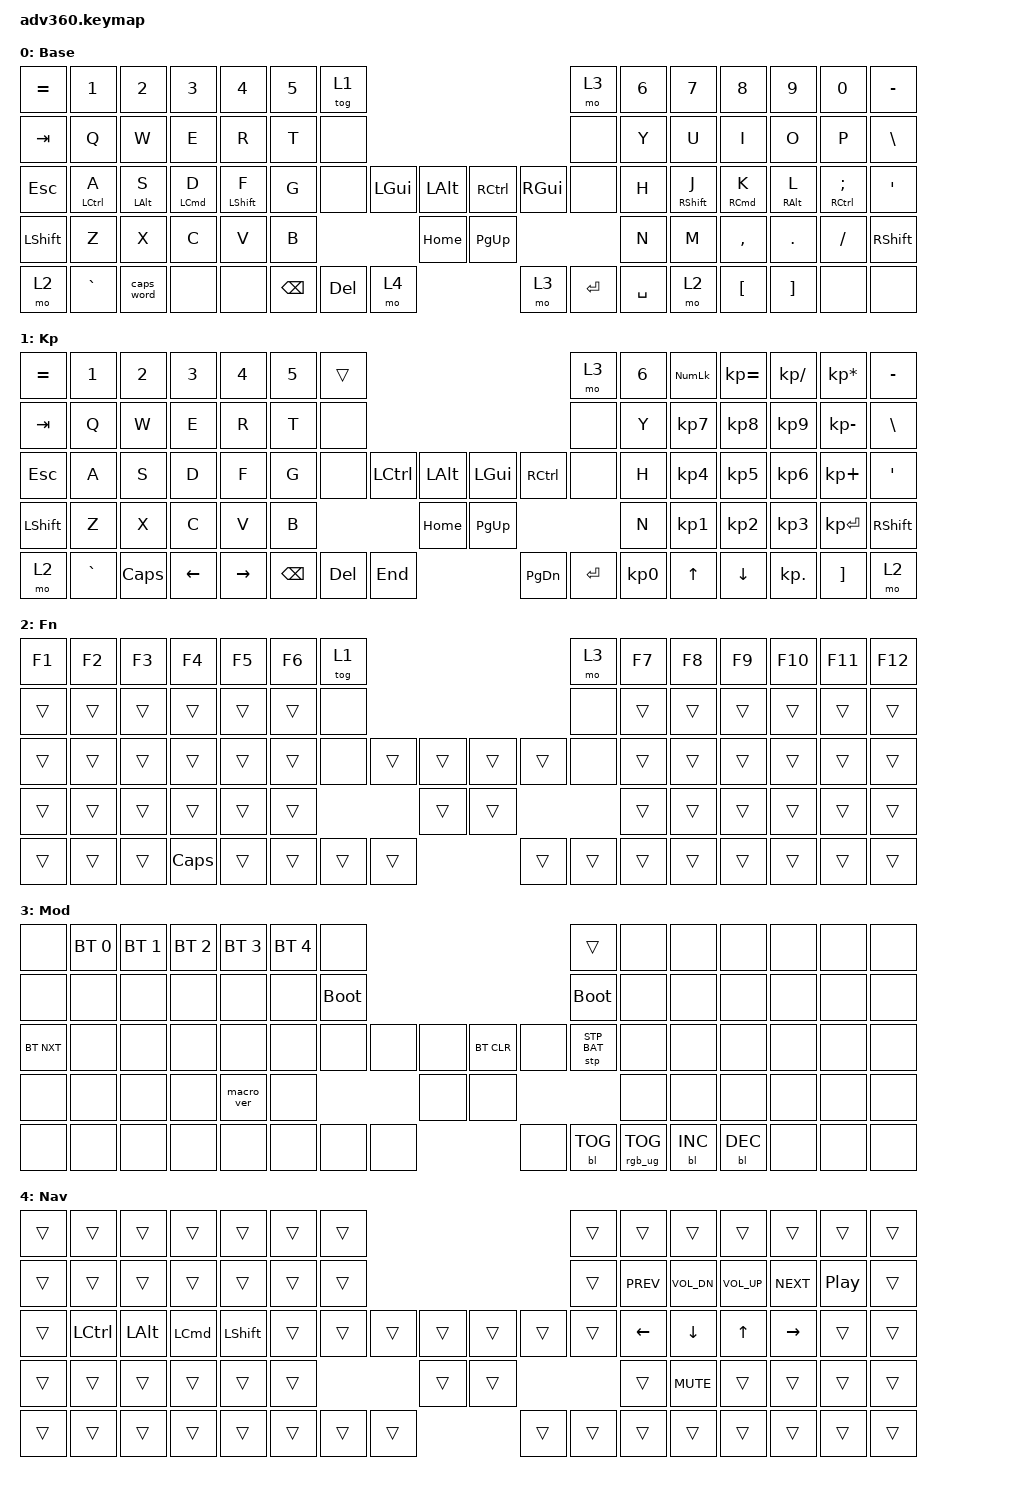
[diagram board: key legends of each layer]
#include <behaviors.dtsi>
#include <dt-bindings/zmk/keys.h>
#include <dt-bindings/zmk/bt.h>
#include <dt-bindings/zmk/rgb.h>
#include <dt-bindings/zmk/stp.h>
#include <dt-bindings/zmk/backlight.h>
#include <dt-bindings/zmk/pointing.h>

/ {
    behaviors {
        #include "macros.dtsi"
        #include "version.dtsi"

        hml: left-hand-homerowmods {
            compatible = "zmk,behavior-hold-tap";
            label = "HOMEROW_MODS_LEFT";
            #binding-cells = <2>;
            tapping-term-ms = <250>;
            flavor = "balanced";
            bindings = <&kp>, <&kp>;

            hold-trigger-on-release;
            quick-tap-ms = <175>;
            require-prior-idle-ms = <200>;
            hold-trigger-key-positions = <7 8 9 10 11 12 13 21 22 23 24 25 26 27 38 39 40 41 42 43 44 45 54 55 56 57 58 59 69 70 71 72 73 74 75 35 36 37 38 52 53 65 66 67 68 69 70>;
        };

        hmr: right-hand-homerowmods {
            compatible = "zmk,behavior-hold-tap";
            label = "HOMEROW_MODS_RIGHT";
            #binding-cells = <2>;
            tapping-term-ms = <250>;
            flavor = "balanced";
            bindings = <&kp>, <&kp>;

            hold-trigger-on-release;
            quick-tap-ms = <175>;
            require-prior-idle-ms = <200>;
            hold-trigger-key-positions = <0 1 2 3 4 5 6 14 15 16 17 18 19 20 28 29 30 31 32 33 34 35 36 46 47 48 49 50 51 52 60 61 62 63 64 65 66 67 37 38 53 68 69 70>;
        };
    };

    macros {
    };

    keymap {
        compatible = "zmk,keymap";

        default_layer {
            display-name = "Base";
            bindings = <
&kp EQUAL  &kp N1               &kp N2           &kp N3               &kp N4             &kp N5  &tog 1                                                                                &mo 3              &kp N6  &kp N7              &kp N8                &kp N9            &kp N0                        &kp MINUS
&kp TAB    &kp Q                &kp W            &kp E                &kp R              &kp T   &none                                                                                 &none              &kp Y   &kp U               &kp I                 &kp O             &kp P                         &kp BSLH
&kp ESC    &hml LEFT_CONTROL A  &hml LEFT_ALT S  &hml LEFT_COMMAND D  &hml LEFT_SHIFT F  &kp G   &none             &kp LEFT_GUI  &kp LALT      &kp RIGHT_CONTROL        &kp RIGHT_GUI  &none              &kp H   &hmr RIGHT_SHIFT J  &hmr RIGHT_COMMAND K  &hmr RIGHT_ALT L  &hmr RIGHT_CONTROL SEMICOLON  &kp SQT
&kp LSHFT  &kp Z                &kp X            &kp C                &kp V              &kp B                                   &kp HOME      &kp PG_UP                                                  &kp N   &kp M               &kp COMMA             &kp DOT           &kp FSLH                      &kp RSHFT
&mo 2      &kp GRAVE           &caps_word       &none                 &none                      &kp BSPC          &kp DELETE    &mo 4         &mo 3                    &kp ENTER      &kp SPACE                  &mo 2               &kp LBKT               &kp RBKT          &none                         &none
            >;
        };

        keypad {
            display-name = "Kp";
            bindings = <
        &kp EQUAL &kp N1    &kp N2   &kp N3   &kp N4     &kp N5 &trans                                                           &mo 3 &kp N6 &kp KP_NUM &kp KP_EQUAL &kp KP_DIVIDE &kp KP_MULTIPLY &kp MINUS
        &kp TAB   &kp Q     &kp W    &kp E    &kp R      &kp T  &none                                                            &none &kp Y  &kp KP_N7  &kp KP_N8    &kp KP_N9     &kp KP_MINUS    &kp BSLH
        &kp ESC   &kp A     &kp S    &kp D    &kp F      &kp G  &none           &kp LCTRL &kp LALT &kp LGUI  &kp RCTRL           &none &kp H  &kp KP_N4  &kp KP_N5    &kp KP_N6     &kp KP_PLUS     &kp SQT
        &kp LSHFT &kp Z     &kp X    &kp C    &kp V      &kp B                            &kp HOME &kp PG_UP                           &kp N  &kp KP_N1  &kp KP_N2    &kp KP_N3     &kp KP_ENTER    &kp RSHFT
        &mo 2     &kp GRAVE &kp CAPS &kp LEFT &kp RIGHT                &kp BSPC &kp DEL   &kp END  &kp PG_DN &kp ENTER &kp KP_N0              &kp UP     &kp DOWN     &kp KP_DOT    &kp RBKT        &mo 2
            >;
        };

        fn {
            display-name = "Fn";
            bindings = <
        &kp F1 &kp F2 &kp F3 &kp F4 &kp F5 &kp F6 &tog 1                                           &mo 3 &kp F7 &kp F8 &kp F9 &kp F10 &kp F11 &kp F12
        &trans &trans &trans &trans &trans &trans  &none                                           &none &trans &trans &trans &trans  &trans  &trans
        &trans &trans &trans &trans &trans &trans  &none        &trans &trans &trans &trans        &none &trans &trans &trans &trans  &trans  &trans
        &trans &trans &trans &trans &trans &trans                      &trans &trans                     &trans &trans &trans &trans  &trans  &trans
        &trans &trans &trans &kp CAPS &trans             &trans &trans &trans &trans &trans &trans              &trans &trans &trans  &trans  &trans
            >;
        };

        mod {
            display-name = "Mod";
            bindings = <
        &none          &bt BT_SEL 0 &bt BT_SEL 1 &bt BT_SEL 2 &bt BT_SEL 3 &bt BT_SEL 4 &none                                                                     &trans       &none        &none        &none        &none &none &none
        &none          &none        &none        &none        &none        &none        &bootloader                                                               &bootloader  &none        &none        &none        &none &none &none
        &bt BT_NXT     &none        &none        &none        &none        &none        &none                   &none &none &bt BT_CLR &none                      &stp STP_BAT &none        &none        &none        &none &none &none
        &none          &none        &none        &none        &macro_ver   &none                                      &none &none                                              &none        &none        &none        &none &none &none
        &none          &none        &none        &none        &none                                       &none &none &none &none      &bl BL_TOG &rgb_ug RGB_TOG                           &bl BL_INC   &bl BL_DEC   &none &none &none
            >;
        };

        nav {
            display-name = "Nav";
            bindings = <
        &trans &trans     &trans    &trans    &trans     &trans &trans                                           &trans &trans &trans    &trans    &trans  &trans    &trans
        &trans &trans     &trans    &trans    &trans     &trans &trans                                           &trans &kp C_PREV &kp C_VOL_DN &kp C_VOL_UP &kp C_NEXT &kp C_PP &trans
        &trans &kp LCTRL  &kp LALT  &kp LCMD  &kp LSHFT  &trans &trans        &trans &trans &trans &trans        &trans &kp LEFT &kp DOWN &kp UP &kp RIGHT &trans  &trans
        &trans &trans     &trans    &trans    &trans     &trans                      &trans &trans                      &trans &kp C_MUTE &trans    &trans  &trans    &trans
        &trans &trans     &trans    &trans    &trans                   &trans &trans &trans &trans &trans &trans               &trans    &trans    &trans  &trans    &trans
            >;
        };

        extra2 {
            display-name = "Purple";
            status = "reserved";
        };

        extra3 {
            display-name = "Cyan";
            status = "reserved";
        };

        extra4 {
            display-name = "Yellow";
            status = "reserved";
        };
    };
};
